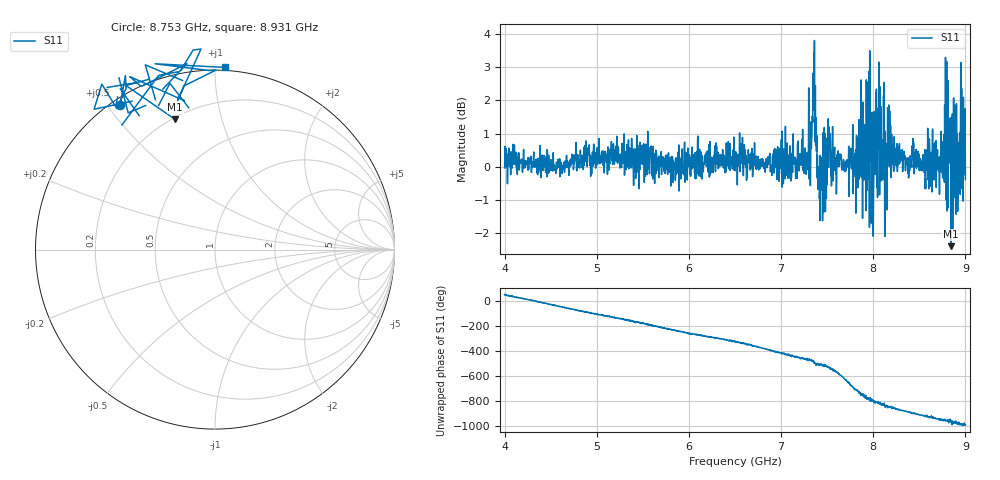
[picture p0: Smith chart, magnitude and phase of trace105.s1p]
! Created with skrf 1.8.0 (http://scikit-rf.org).
# Hz S RI R 50.0
!freq ReS11 ImS11
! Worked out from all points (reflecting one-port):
!   1601 points, 4 GHz to 9 GHz, reference 50 ohm
!   lowest |S11| = -2.4 dB at 8.844 GHz (marker M1), VSWR 7.29, Z = 10.5 + j35.9 ohm
!   phase of S11 starts at 53 deg and turns -1048 deg over the sweep
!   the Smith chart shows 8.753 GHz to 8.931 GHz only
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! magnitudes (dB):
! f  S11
! 4 GHz  0.0
! 4.625 GHz  -0.2
! 5.25 GHz  0.0
! 5.875 GHz  -0.2
! 6.5 GHz  -0.1
! 7.125 GHz  -0.2
! 7.294 GHz  0.2
! 7.356 GHz  3.4
! 7.372 GHz  2.4
! 7.4 GHz  -0.7
! 7.425 GHz  0.3
! 7.525 GHz  1.0
! 7.588 GHz  0.3
! 7.75 GHz  0.1
! 7.891 GHz  0.6
! 7.909 GHz  1.3
! 7.95 GHz  1.3
! 8 GHz  -2.1
! 8.05 GHz  1.8
! 8.112 GHz  2.2
! 8.178 GHz  1.7
! 8.375 GHz  0.2
! 8.709 GHz  -0.1
! 8.809 GHz  2.6
! 8.844 GHz  -2.4
! 8.9 GHz  -1.4
! 8.972 GHz  0.6
! 9 GHz  -0.4
